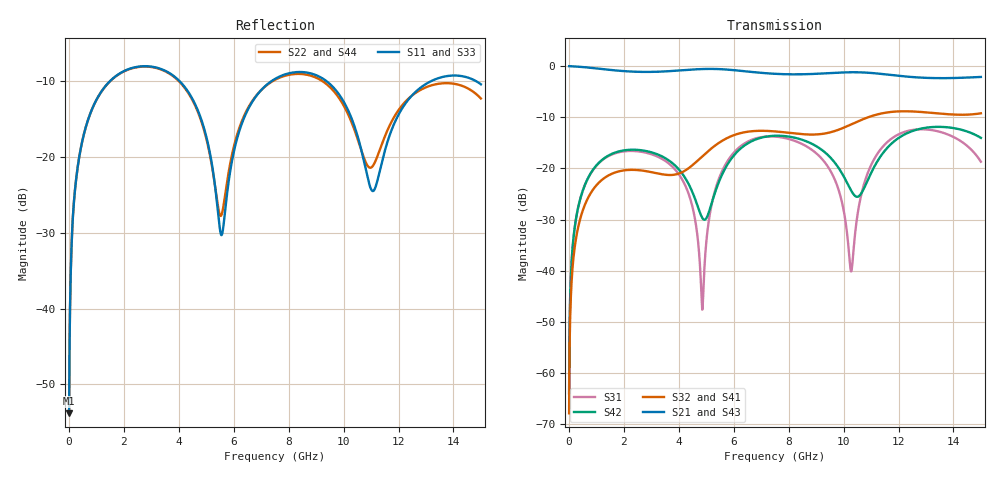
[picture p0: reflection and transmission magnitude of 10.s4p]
! Created with skrf 1.8.0 (http://scikit-rf.org).
# GHz S RI R 50.0
!freq ReS11 ImS11 ReS12 ImS12 ReS13 ImS13
! ReS14 ImS14
! ReS21 ImS21 ReS22 ImS22 ReS23 ImS23
! ReS24 ImS24
! ReS31 ImS31 ReS32 ImS32 ReS33 ImS33
! ReS34 ImS34
! ReS41 ImS41 ReS42 ImS42 ReS43 ImS43
! ReS44 ImS44
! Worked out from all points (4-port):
!   2499 points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, 5 MHz to 15 GHz, reference 50 ohm
!   strongest paths, dB at 5 MHz, 3.476 GHz, 7.19 GHz, 11.1 GHz, 15 GHz:
!     S21: 0.0, -1.0, -1.4, -1.4, -2.1
!     S43: 0.0, -1.0, -1.4, -1.4, -2.1
!     S32: -67.8, -21.2, -12.7, -9.6, -9.2
!     S41: -67.8, -21.3, -12.7, -9.6, -9.3
!     S42: -63.9, -17.9, -13.8, -19.9, -14.0
!     S31: -63.9, -18.4, -13.8, -18.3, -18.7
!   lowest |S11| = -53.8 dB at 5 MHz (marker M1), VSWR 1.00, Z = 50.2 + j0.124 ohm
!   |S11| at or under -10 dB: start of sweep to 1.492 GHz; 4.028 GHz to 7.374 GHz (3.346 GHz wide, 58.7 % of centre); 9.378 GHz to 13.19 GHz (3.808 GHz wide, 33.8 % of centre) (the widest 3 of 4)
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0.005  0.00162 0.00124  0.9983 -0.00316  8.1e-05 0.000633  -7.88e-05 -0.000398
       0.9983 -0.00316  0.00162 0.00124  -7.88e-05 -0.000398  8.12e-05 0.000633
       8.1e-05 0.000633  -7.88e-05 -0.000398  0.00162 0.00124  0.9983 -0.00316
       -7.88e-05 -0.000398  8.12e-05 0.000633  0.9983 -0.00316  0.00162 0.00124
0.3126303  0.0237 0.0814  0.9678 -0.1967  0.0104 0.0377  -0.00889 -0.0234
           0.9678 -0.1967  0.0236 0.0814  -0.00889 -0.0234  0.0109 0.0375
           0.0104 0.0377  -0.00889 -0.0234  0.0237 0.0814  0.9678 -0.1967
           -0.00889 -0.0234  0.0109 0.0375  0.9678 -0.1967  0.0236 0.0814
1.519383  0.2626 0.1824  0.5694 -0.7182  0.1182 0.0662  -0.0871 -0.00974
          0.5694 -0.7182  0.2605 0.1837  -0.0872 -0.00961  0.1245 0.058
          0.1182 0.0662  -0.0872 -0.00961  0.2625 0.1825  0.5694 -0.7182
          -0.0871 -0.00974  0.1245 0.058  0.5694 -0.7182  0.2605 0.1837
4.852022  0.0857 -0.1458  -0.8336 -0.4253  0.00405 0.00105  -0.0564 0.1183
          -0.8336 -0.4253  0.0934 -0.1359  -0.0547 0.1192  -0.0278 -0.0179
          0.00405 0.00105  -0.0547 0.1192  0.0851 -0.1453  -0.8337 -0.4253
          -0.0564 0.1183  -0.0278 -0.0179  -0.8337 -0.4253  0.0933 -0.1353
8.6411  0.3562 -0.0572  0.0307 0.8331  0.1518 -0.0646  0.2002 -0.0722
        0.0307 0.8331  0.3464 -0.0443  0.2004 -0.0782  0.1498 -0.1075
        0.1518 -0.0646  0.2004 -0.0782  0.3558 -0.0532  0.03 0.833
        0.2002 -0.0722  0.1498 -0.1075  0.03 0.833  0.3477 -0.048
10.27303  0.1184 -0.1397  0.705 0.5109  -0.00917 -0.00366  0.1549 -0.2201
          0.705 0.5109  0.131 -0.1122  0.1474 -0.2252  -0.0455 -0.0407
          -0.00917 -0.00366  0.1474 -0.2252  0.1224 -0.138  0.7041 0.5121
          0.1549 -0.2201  -0.0455 -0.0407  0.7041 0.5121  0.1282 -0.1156
15  0.2618 -0.1495  -0.2783 -0.7323  0.0964 -0.0655  -0.3045 0.1574
    -0.2783 -0.7323  0.222 -0.0991  -0.2992 0.1737  0.0514 -0.1924
    0.0964 -0.0655  -0.2992 0.1737  0.2556 -0.1397  -0.2776 -0.735
    -0.3045 0.1574  0.0514 -0.1924  -0.2776 -0.735  0.2143 -0.1048
